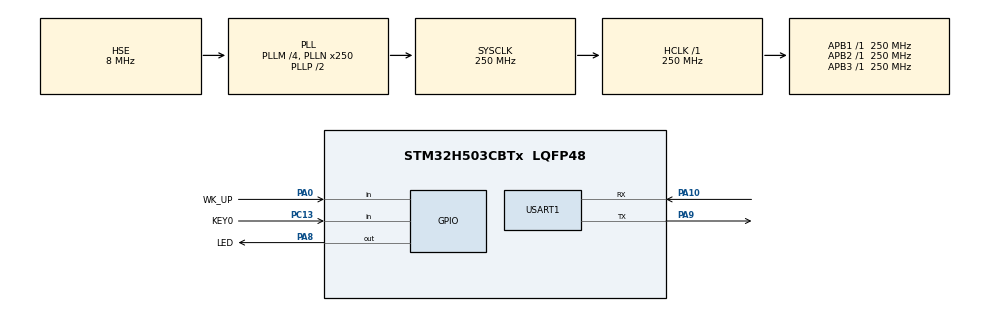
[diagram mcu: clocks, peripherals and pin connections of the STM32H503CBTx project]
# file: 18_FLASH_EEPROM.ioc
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BOOTPATH.BootPathName=LEGACY
BOOTPATH.UserSelectedBootPath=LEGACY
Mcu.Family=STM32H5
Mcu.Name=STM32H503CBTx
Mcu.Package=LQFP48
NVIC.PriorityGroup=NVIC_PRIORITYGROUP_2
NVIC.TIM2_IRQn=true\:2\:2\:true\:false\:true\:true\:true\:true
NVIC.USART1_IRQn=true\:2\:2\:true\:false\:true\:true\:true\:true
PA0.GPIO_Label=WK_UP
PA0.GPIO_PuPd=GPIO_PULLDOWN
PA0.Signal=GPIO_Input
PA10.GPIO_ModeDefaultPP=GPIO_MODE_AF_PP
PA10.GPIO_Speed=GPIO_SPEED_FREQ_LOW
PA10.Mode=Asynchronous
PA10.Signal=USART1_RX
PA8.GPIO_Label=LED
PA8.GPIO_ModeDefaultOutputPP=GPIO_MODE_OUTPUT_PP
PA8.GPIO_PuPd=GPIO_PULLUP
PA8.PinState=GPIO_PIN_SET
PA8.Signal=GPIO_Output
PA9.GPIO_Speed=GPIO_SPEED_FREQ_HIGH
PA9.Mode=Asynchronous
PA9.Signal=USART1_TX
PC13.GPIO_Label=KEY0
PC13.GPIO_PuPd=GPIO_PULLDOWN
PC13.Signal=GPIO_Input
PC14-OSC32_IN(OSC32_IN).Mode=LSE-External-Oscillator
PC14-OSC32_IN(OSC32_IN).Signal=RCC_OSC32_IN
PC15-OSC32_OUT(OSC32_OUT).Mode=LSE-External-Oscillator
PC15-OSC32_OUT(OSC32_OUT).Signal=RCC_OSC32_OUT
PH0-OSC_IN(PH0).Mode=HSE-External-Oscillator
PH0-OSC_IN(PH0).Signal=RCC_OSC_IN
PH1-OSC_OUT(PH1).Mode=HSE-External-Oscillator
PH1-OSC_OUT(PH1).Signal=RCC_OSC_OUT
ProjectManager.HeapSize=0x200
ProjectManager.StackSize=0x400
ProjectManager.TargetToolchain=STM32CubeIDE
RCC.ADCFreq_Value=250000000
RCC.AHBFreq_Value=250000000
RCC.APB1Freq_Value=250000000
RCC.APB1TimFreq_Value=250000000
RCC.APB2Freq_Value=250000000
RCC.APB2TimFreq_Value=250000000
RCC.APB3Freq_Value=250000000
RCC.CSI_VALUE=4000000
RCC.CortexFreq_Value=250000000
RCC.EPOD_VALUE=8000000
RCC.HCLKFreq_Value=250000000
RCC.HSE_VALUE=8000000
RCC.HSI48_VALUE=48000000
RCC.HSI_VALUE=64000000
RCC.LSIRC_VALUE=32000
RCC.PLLM=4
RCC.PLLN=250
RCC.PLLSourceVirtual=RCC_PLL1_SOURCE_HSE
RCC.SYSCLKFreq_VALUE=250000000
RCC.SYSCLKSource=RCC_SYSCLKSOURCE_PLLCLK
RCC.USBFreq_Value=48000000
RCC.VCOOutputFreq_Value=500000000
TIM2.AutoReloadPreload=TIM_AUTORELOAD_PRELOAD_ENABLE
TIM2.PeriodNoDither=1000-1
TIM2.Prescaler=25000-1
USART1.VirtualMode=VM_ASYNC
VP_BOOTPATH_VS_BOOTPATH.Mode=BP_Activate
VP_ICACHE_VS_ICACHE.Mode=DefaultMode
VP_MEMORYMAP_VS_MEMORYMAP.Mode=CurAppReg
VP_PWR_VS_DBSignals.Mode=DisableDeadBatterySignals
VP_PWR_VS_LPOM.Mode=PowerOptimisation
VP_PWR_VS_SECSignals.Mode=Security/Privilege
VP_TIM2_VS_ClockSourceINT.Mode=Internal
board=custom

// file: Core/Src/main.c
/**
 ****************************************************************************************************
 * @file        main.c
 * @author      ALIENTEK
 * @brief       FLASH simulation EEPROM code
 * @license     Copyright (C) 2012-2024, ALIENTEK
 ****************************************************************************************************
 * @attention
 *
 * platform     : ALIENTEK M48-STM32H503 board
 * website      : www.alientek.com
 * forum        : www.openedv.com/forum.php
 *
 * change logs  ：
 * version      data         notes
 * V1.0         20240309     the first version
 *
 ****************************************************************************************************
 */

/* USER CODE BEGIN Header */

/* USER CODE END Header */
#include "main.h"
#include "icache.h"
#include "memorymap.h"
#include "tim.h"
#include "usart.h"
#include "gpio.h"

/* USER CODE BEGIN Includes */
#include "../../ATK_Middlewares/USMART/usmart.h"
#include "../../BSP/LED/led.h"
#include "../../BSP/KEY/key.h"
#include "../../BSP/STMFLASH/stmflash.h"
/* USER CODE END Includes */

/* USER CODE BEGIN PV */
/* Data to be written to Flash */
static uint8_t g_text_buf[] = {"FLASH TEST"};

/* The length of the Flash data to be written */
#define TEXT_SIZE sizeof(g_text_buf)

/* SIZE means half the word length (4 bytes),
 * and the size must be a multiple of 4, if not, force alignment to a multiple of 4 */
#define SIZE TEXT_SIZE / 4 + ((TEXT_SIZE % 4) ? 1 : 0)

/* Write Flash address, must be 4 bytes aligned,
 * and greater than the size of this code +Flash start address (0x08000000) */
#define FLASH_SAVE_ADDR     0x08012000
/* USER CODE END PV */

void SystemClock_Config(void);

/* USER CODE BEGIN 0 */
/**
 * @brief   Displays information about the experiment
 * @param   None
 * @retval  None
 */
void stm32h503cb_show_mesg(void)
{
	/* The serial port outputs the experimental information */
	printf("\n");
	printf("********************************\r\n");
	printf("STM32H503\r\n");
	printf("FLASH simulation EEPROM Test\r\n");
    printf("ATOM@ALIENTEK\r\n");
    printf("KEY0:Read FLASH\r\n");
    printf("WKUP:Write FLASH\r\n");
	printf("********************************\r\n");
	printf("\r\n");
}
/* USER CODE END 0 */

int main(void)
{
  /* USER CODE BEGIN 1 */
  uint8_t key = 0;
  uint16_t i = 0;
  uint8_t data[SIZE];
  /* USER CODE END 1 */

  /* MCU Configuration--------------------------------------------------------*/

  /* Reset of all peripherals, Initializes the Flash interface and the Systick. */
  HAL_Init();

  /* Configure the system clock */
  SystemClock_Config();

  /* Initialize all configured peripherals */
  MX_GPIO_Init();
  MX_ICACHE_Init();
  MX_USART1_UART_Init();
  MX_TIM2_Init();
  /* USER CODE BEGIN 2 */
  stm32h503cb_show_mesg();
  /* USER CODE END 2 */

  /* Infinite loop */
  /* USER CODE BEGIN WHILE */
  while (1)
  {
	  key = key_scan(0);

	  if (key == WKUP_PRES)                           /* WKUP PRES is pressed to write STM32 FLASH */
	  {
	      printf("Start Write FLASH....\r\n");
	      stmflash_write(FLASH_SAVE_ADDR, (uint32_t *)g_text_buf, SIZE);
	      printf("FLASH Write Finished!\r\n");        /* Prompt transmission completed */
	  }

	  if (key == KEY0_PRES)                           /* KEY0 is pressed to read the string and display it */
	  {
	      printf("Start Read FLASH.... \r\n");
	      stmflash_read(FLASH_SAVE_ADDR, (uint32_t *)data, SIZE);
	      printf("The Data Readed Is:  %s\r\n", data);/* Displays the string read */
	  }

	  i++;
	  HAL_Delay(10);   		                          /* delay 10ms */

	  if (i == 20)
	  {
	     LED_TOGGLE();                                /* Prompt that the system is running */
	     i = 0;
	  }
    /* USER CODE END WHILE */

  }
}

void SystemClock_Config(void)
{
  RCC_OscInitTypeDef RCC_OscInitStruct = {0};
  RCC_ClkInitTypeDef RCC_ClkInitStruct = {0};

  /** Configure the main internal regulator output voltage
  */
  __HAL_PWR_VOLTAGESCALING_CONFIG(PWR_REGULATOR_VOLTAGE_SCALE0);

  while(!__HAL_PWR_GET_FLAG(PWR_FLAG_VOSRDY)) {}

  /** Initializes the RCC Oscillators according to the specified parameters
  * in the RCC_OscInitTypeDef structure.
  */
  RCC_OscInitStruct.OscillatorType = RCC_OSCILLATORTYPE_HSE;
  RCC_OscInitStruct.HSEState = RCC_HSE_ON;
  RCC_OscInitStruct.PLL.PLLState = RCC_PLL_ON;
  RCC_OscInitStruct.PLL.PLLSource = RCC_PLL1_SOURCE_HSE;
  RCC_OscInitStruct.PLL.PLLM = 4;
  RCC_OscInitStruct.PLL.PLLN = 250;
  RCC_OscInitStruct.PLL.PLLP = 2;
  RCC_OscInitStruct.PLL.PLLQ = 2;
  RCC_OscInitStruct.PLL.PLLR = 2;
  RCC_OscInitStruct.PLL.PLLRGE = RCC_PLL1_VCIRANGE_1;
  RCC_OscInitStruct.PLL.PLLVCOSEL = RCC_PLL1_VCORANGE_WIDE;
  RCC_OscInitStruct.PLL.PLLFRACN = 0;
  if (HAL_RCC_OscConfig(&RCC_OscInitStruct) != HAL_OK)
  {
    Error_Handler();
  }

  /** Initializes the CPU, AHB and APB buses clocks
  */
  RCC_ClkInitStruct.ClockType = RCC_CLOCKTYPE_HCLK|RCC_CLOCKTYPE_SYSCLK
                              |RCC_CLOCKTYPE_PCLK1|RCC_CLOCKTYPE_PCLK2
                              |RCC_CLOCKTYPE_PCLK3;
  RCC_ClkInitStruct.SYSCLKSource = RCC_SYSCLKSOURCE_PLLCLK;
  RCC_ClkInitStruct.AHBCLKDivider = RCC_SYSCLK_DIV1;
  RCC_ClkInitStruct.APB1CLKDivider = RCC_HCLK_DIV1;
  RCC_ClkInitStruct.APB2CLKDivider = RCC_HCLK_DIV1;
  RCC_ClkInitStruct.APB3CLKDivider = RCC_HCLK_DIV1;

  if (HAL_RCC_ClockConfig(&RCC_ClkInitStruct, FLASH_LATENCY_5) != HAL_OK)
  {
    Error_Handler();
  }
}

void Error_Handler(void)
{
  __disable_irq();
  while (1)
  {
  }
}
